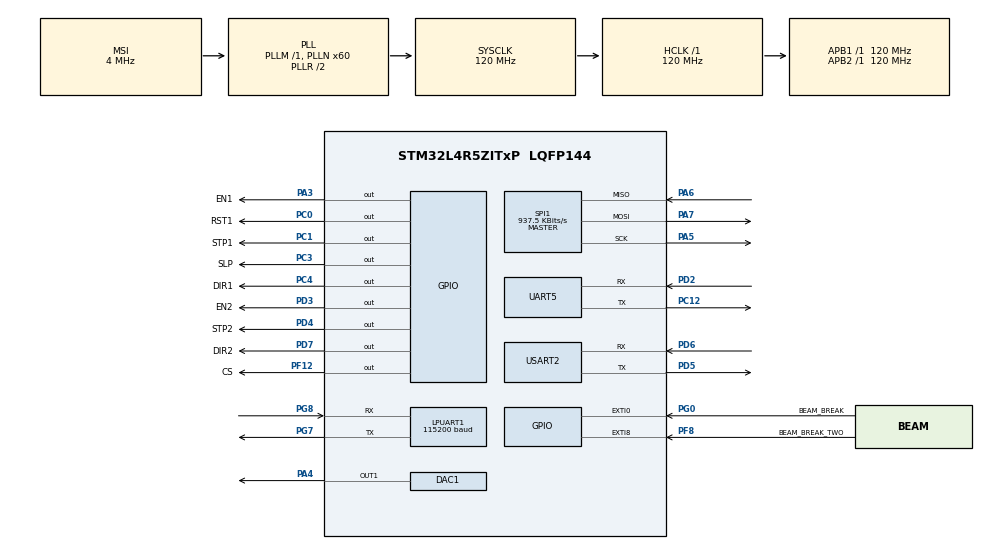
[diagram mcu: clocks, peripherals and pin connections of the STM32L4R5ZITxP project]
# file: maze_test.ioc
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DAC1.DAC_HighFrequency-DAC_OUT1=DAC_HIGH_FREQUENCY_INTERFACE_MODE_DISABLE
DAC1.DAC_Trigger-DAC_OUT1=DAC_TRIGGER_T5_TRGO
Dma.DAC1_CH1.0.Direction=DMA_MEMORY_TO_PERIPH
Dma.DAC1_CH1.0.EventEnable=DISABLE
Dma.DAC1_CH1.0.Instance=DMA1_Channel1
Dma.DAC1_CH1.0.MemDataAlignment=DMA_MDATAALIGN_BYTE
Dma.DAC1_CH1.0.MemInc=DMA_MINC_ENABLE
Dma.DAC1_CH1.0.Mode=DMA_NORMAL
Dma.DAC1_CH1.0.PeriphDataAlignment=DMA_PDATAALIGN_BYTE
Dma.DAC1_CH1.0.PeriphInc=DMA_PINC_DISABLE
Dma.DAC1_CH1.0.Polarity=HAL_DMAMUX_REQUEST_GEN_RISING
Dma.DAC1_CH1.0.Priority=DMA_PRIORITY_LOW
Dma.DAC1_CH1.0.RequestNumber=1
Dma.DAC1_CH1.0.SignalID=NONE
Dma.DAC1_CH1.0.SyncEnable=DISABLE
Dma.DAC1_CH1.0.SyncPolarity=HAL_DMAMUX_SYNC_NO_EVENT
Dma.DAC1_CH1.0.SyncRequestNumber=1
Dma.DAC1_CH1.0.SyncSignalID=NONE
Dma.Request0=DAC1_CH1
LPUART1.BaudRate=115200
LPUART1.WordLength=UART_WORDLENGTH_8B
Mcu.Family=STM32L4
Mcu.Name=STM32L4R5ZITxP
Mcu.Package=LQFP144
NVIC.DMA1_Channel1_IRQn=true\:0\:0\:false\:false\:true\:false\:true\:true
NVIC.EXTI0_IRQn=true\:0\:0\:false\:false\:true\:true\:true\:true
NVIC.EXTI9_5_IRQn=true\:0\:0\:false\:false\:true\:true\:true\:true
NVIC.PriorityGroup=NVIC_PRIORITYGROUP_4
NVIC.TIM4_IRQn=true\:0\:0\:false\:false\:true\:true\:true\:true
NVIC.TIM6_DAC_IRQn=true\:0\:0\:false\:false\:true\:true\:true\:true
NVIC.TIM7_IRQn=true\:0\:0\:false\:false\:true\:true\:true\:true
NVIC.UART5_IRQn=true\:0\:0\:false\:false\:true\:true\:true\:true
NVIC.USART2_IRQn=true\:0\:0\:false\:false\:true\:true\:true\:true
PA0.Signal=S_TIM2_CH1
PA1.Signal=ADCx_IN6
PA10.Signal=USB_OTG_FS_ID
PA13\ (JTMS/SWDIO).Signal=SYS_JTMS-SWDIO
PA14\ (JTCK/SWCLK).Signal=SYS_JTCK-SWCLK
PA3.GPIO_Label=EN1
PA3.PinState=GPIO_PIN_SET
PA3.Signal=GPIO_Output
PA4.Signal=COMP_DAC11_group
PA5.Mode=Full_Duplex_Master
PA5.Signal=SPI1_SCK
PA6.Mode=Full_Duplex_Master
PA6.Signal=SPI1_MISO
PA7.Mode=Full_Duplex_Master
PA7.Signal=SPI1_MOSI
PA8.Signal=USB_OTG_FS_SOF
PA9.Signal=USB_OTG_FS_VBUS
PB0.Signal=S_TIM3_CH3
PB1.Signal=ADCx_IN16
PB10.Signal=S_TIM2_CH3
PB12.Signal=SAI2_FS_A
PB13.Signal=SAI2_SCK_A
PB14.Signal=S_TIM15_CH1
PB15.Signal=SAI2_SD_A
PB2.Signal=COMP1_INP
PB3\ (JTDO/TRACESWO).Signal=SPI3_SCK
PB4\ (NJTRST).Signal=SPI3_MISO
PB5.Signal=SPI3_MOSI
PB6.Signal=COMP2_INP
PB8.Signal=I2C1_SCL
PB9.Signal=I2C1_SDA
PC0.GPIO_Label=RST1
PC0.PinState=GPIO_PIN_SET
PC0.Signal=GPIO_Output
PC1.GPIO_Label=STP1
PC1.Signal=GPIO_Output
PC10.Signal=SDMMC1_D2
PC11.Signal=SDMMC1_D3
PC12.Mode=Asynchronous
PC12.Signal=UART5_TX
PC13.Signal=SYS_WKUP2
PC14-OSC32_IN\ (PC14).Signal=RCC_OSC32_IN
PC15-OSC32_OUT\ (PC15).Signal=RCC_OSC32_OUT
PC2.Signal=ADCx_IN3
PC3.GPIO_Label=SLP
PC3.PinState=GPIO_PIN_SET
PC3.Signal=GPIO_Output
PC4.GPIO_Label=DIR1
PC4.Signal=GPIO_Output
PC5.Signal=ADCx_IN14
PC6.Signal=SAI2_MCLK_A
PC7.Signal=S_TIM3_CH2
PC8.Signal=SDMMC1_D0
PC9.Signal=SDMMC1_D1
PD0.Signal=CAN1_RX
PD14.Signal=S_TIM4_CH3
PD15.Signal=S_TIM4_CH4
PD2.Mode=Asynchronous
PD2.Signal=UART5_RX
PD3.GPIO_Label=EN2
PD3.PinState=GPIO_PIN_SET
PD3.Signal=GPIO_Output
PD4.GPIO_Label=STP2
PD4.Signal=GPIO_Output
PD5.Mode=Asynchronous
PD5.Signal=USART2_TX
PD6.Mode=Asynchronous
PD6.Signal=USART2_RX
PD7.GPIO_Label=DIR2
PD7.Signal=GPIO_Output
PD8.Signal=USART3_TX
PD9.Signal=USART3_RX
PE0.Signal=S_TIM4_ETR
PE10.Signal=TIM1_CH2N
PE11.Signal=S_TIM1_CH2
PE12.Signal=TIM1_CH3N
PE13.Signal=S_TIM1_CH3
PE14.Signal=TIM1_BKIN2
PE15.Signal=TIM1_BKIN
PE2.Signal=SAI1_MCLK_A
PE3.Signal=SAI1_SD_B
PE7.Signal=S_TIM1_ETR
PE8.Signal=TIM1_CH1N
PE9.Signal=S_TIM1_CH1
PF0.Signal=I2C2_SDA
PF1.Signal=I2C2_SCL
PF12.GPIO_Label=CS
PF12.PinState=GPIO_PIN_SET
PF12.Signal=GPIO_Output
PF2.Signal=I2C2_SMBA
PF7.Signal=SAI1_MCLK_B
PF8.GPIO_Label=BEAM_BREAK_TWO
PF8.GPIO_ModeDefaultEXTI=GPIO_MODE_IT_FALLING
PF8.GPIO_PuPd=GPIO_PULLUP
PF8.Signal=GPXTI8
PG0.GPIO_Label=BEAM_BREAK
PG0.GPIO_ModeDefaultEXTI=GPIO_MODE_IT_FALLING
PG0.GPIO_PuPd=GPIO_PULLUP
PG0.Signal=GPXTI0
PG7.Mode=Asynchronous
PG7.Signal=LPUART1_TX
PG8.Mode=Asynchronous
PG8.Signal=LPUART1_RX
PH0-OSC_IN\ (PH0).Signal=RCC_OSC_IN
PH1-OSC_OUT\ (PH1).Signal=RCC_OSC_OUT
ProjectManager.HeapSize=0x200
ProjectManager.StackSize=0x400
ProjectManager.TargetToolchain=STM32CubeIDE
RCC.AHBFreq_Value=120000000
RCC.APB1Freq_Value=120000000
RCC.APB1TimFreq_Value=120000000
RCC.APB2Freq_Value=120000000
RCC.APB2TimFreq_Value=120000000
RCC.CortexFreq_Value=120000000
RCC.HCLKFreq_Value=120000000
RCC.HSE_VALUE=8000000
RCC.HSI48_VALUE=48000000
RCC.HSI_VALUE=16000000
RCC.LSE_VALUE=32768
RCC.MSI_VALUE=4000000
RCC.PLLN=60
RCC.SYSCLKFreq_VALUE=120000000
RCC.SYSCLKSource=RCC_SYSCLKSOURCE_PLLCLK
RCC.VCOOutputFreq_Value=240000000
SH.ADCx_IN14.0=ADC1_IN14
SH.ADCx_IN16.0=ADC1_IN16
SH.ADCx_IN3.0=ADC1_IN3
SH.ADCx_IN6.0=ADC1_IN6
SH.COMP_DAC11_group.0=DAC1_OUT1,DAC_OUT1
SH.S_TIM15_CH1.0=TIM15_CH1
SH.S_TIM1_CH1.0=TIM1_CH1
SH.S_TIM1_CH2.0=TIM1_CH2
SH.S_TIM1_CH3.0=TIM1_CH3
SH.S_TIM1_ETR.0=TIM1_ETR
SH.S_TIM2_CH1.0=TIM2_CH1
SH.S_TIM2_CH3.0=TIM2_CH3
SH.S_TIM3_CH2.0=TIM3_CH2
SH.S_TIM3_CH3.0=TIM3_CH3
SH.S_TIM4_CH3.0=TIM4_CH3
SH.S_TIM4_CH4.0=TIM4_CH4
SH.S_TIM4_ETR.0=TIM4_ETR
SPI1.BaudRatePrescaler=SPI_BAUDRATEPRESCALER_128
SPI1.CalculateBaudRate=937.5 KBits/s
SPI1.DataSize=SPI_DATASIZE_8BIT
SPI1.Direction=SPI_DIRECTION_2LINES
SPI1.Mode=SPI_MODE_MASTER
SPI1.VirtualType=VM_MASTER
TIM3.Period=65535
TIM4.Period=9999
TIM4.Prescaler=11999
TIM5.Period=14999
TIM5.TIM_MasterOutputTrigger=TIM_TRGO_UPDATE
TIM6.Period=2999
TIM6.Prescaler=119
TIM7.Period=2999
TIM7.Prescaler=119
USART2.VirtualMode-Asynchronous=VM_ASYNC
VP_TIM3_VS_ClockSourceINT.Mode=Internal
VP_TIM4_VS_ClockSourceINT.Mode=Internal
VP_TIM5_VS_ClockSourceINT.Mode=Internal
VP_TIM6_VS_ClockSourceINT.Mode=Enable_Timer
VP_TIM7_VS_ClockSourceINT.Mode=Enable_Timer
board=NUCLEO-L4R5ZI-P

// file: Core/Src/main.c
/* USER CODE BEGIN Header */
/**
  ******************************************************************************
  * @file           : main.c
  * @brief          : Main program body
  ******************************************************************************
  * @attention
  *
  * Copyright (c) 2026 STMicroelectronics.
  * All rights reserved.
  *
  * This software is licensed under terms that can be found in the LICENSE file
  * in the root directory of this software component.
  * If no LICENSE file comes with this software, it is provided AS-IS.
  *
  ******************************************************************************
  */
/* USER CODE END Header */
#include "main.h"

/* USER CODE BEGIN Includes */
#include <math.h>
#include <stdlib.h>
#include <string.h>
#include <stdio.h>
#include "MAX7219Driver.h"
#include "audio.h"
/* USER CODE END Includes */

/* USER CODE BEGIN PD */
#define STEP_SIZE 1.8
#define MAX_ARR 1999
#define MIN_ARR 1499

extern unsigned char output_pcm[];
extern unsigned int output_pcm_len;

/* USER CODE END PD */

DAC_HandleTypeDef hdac1;
DMA_HandleTypeDef hdma_dac1_ch1;

UART_HandleTypeDef hlpuart1;
UART_HandleTypeDef huart5;
UART_HandleTypeDef huart2;

SPI_HandleTypeDef hspi1;

TIM_HandleTypeDef htim3;
TIM_HandleTypeDef htim4;
TIM_HandleTypeDef htim5;
TIM_HandleTypeDef htim6;
TIM_HandleTypeDef htim7;

/* USER CODE BEGIN PV */

int32_t elapsed_time = -1; //start at -1 to handle delay between timer start and display

/* USER CODE END PV */

void SystemClock_Config(void);
static void MX_GPIO_Init(void);
static void MX_DMA_Init(void);
static void MX_USART2_UART_Init(void);
static void MX_UART5_Init(void);
static void MX_LPUART1_UART_Init(void);
static void MX_SPI1_Init(void);
static void MX_TIM4_Init(void);
static void MX_TIM3_Init(void);
static void MX_TIM7_Init(void);
static void MX_TIM6_Init(void);
static void MX_DAC1_Init(void);
static void MX_TIM5_Init(void);

/* USER CODE BEGIN 0 */

// Wireless Transfer Data
int8_t rx_byte[2] = { 0, 0 };
volatile int received_roll = 0;
volatile int received_pitch = 0;
volatile uint8_t msg_flag = 0;
volatile uint8_t mov_flag1 = 0;
volatile uint8_t mov_flag2 = 0;

// Motor Movement Data
volatile int32_t steps_left1 = 0;
volatile int32_t steps_left2 = 0;
volatile int32_t steps_to_take1 = 0;
volatile int32_t steps_to_take2 = 0;
volatile uint32_t current_arr1 = MAX_ARR;
volatile uint32_t current_arr2 = MAX_ARR;
volatile uint32_t arr_step1 = 0;
volatile uint32_t arr_step2 = 0;
volatile int current_roll = 0;
volatile int current_pitch= 0;

//CoM display
volatile int time_update=0; //to actually update time
volatile int clear_flag=0; //clear flag to wipe display between rdy->mov transition

// Game State Data
volatile uint8_t game_ongoing = 0; //start at 0, update to 1 once board status flips

typedef enum
{
	TARE, //taring status from board
	RDY, //ready status from board
	MOV, //moving status from board
	END //game end status from beam break
} player_status; //enum to indicate if someone is on or off the board

player_status board = TARE; //start with the board in taring state

/* USER CODE END 0 */

int main(void)
{

  /* MCU Configuration--------------------------------------------------------*/

  /* Reset of all peripherals, Initializes the Flash interface and the Systick. */
  HAL_Init();

  /* Configure the system clock */
  SystemClock_Config();

  /* Initialize all configured peripherals */
  MX_GPIO_Init();
  MX_DMA_Init();
  MX_USART2_UART_Init();
  MX_UART5_Init();
  MX_LPUART1_UART_Init();
  MX_SPI1_Init();
  MX_TIM4_Init();
  MX_TIM3_Init();
  MX_TIM7_Init();
  MX_TIM6_Init();
  MX_DAC1_Init();
  MX_TIM5_Init();
  /* USER CODE BEGIN 2 */

  HAL_UART_Receive_IT(&huart5, rx_byte, 2); //enable reception from the wireless

  Matrix_Init(); //start the display

  HAL_GPIO_WritePin(EN1_GPIO_Port, EN1_Pin, GPIO_PIN_RESET); //enable motor 1
  HAL_GPIO_WritePin(EN2_GPIO_Port, EN2_Pin, GPIO_PIN_RESET); //enable motor 2

  int dir1 = 0; //direction of roll motor
  int dir2 = 0; //direction of pitch motor
  int diff1 = 0; //roll difference
  int diff2 = 0; //pitch difference
  int sign1 = 0; //addition/subtraction (1,-1) for roll
  int sign2 = 0; //addition/subtraction (1,-1) for pitch

  /* USER CODE END 2 */

  /* Infinite loop */
  while (1)
  {

    /* USER CODE BEGIN 3 */
	  if(board==TARE) //if taring
	  {
		  if(game_ongoing == 1) //if someone stepped off mid game
		  {
			  	if(current_roll!=0) //if roll not zeroed
			  	{
			  		//move motor back to zero
			  		dir1  = (current_roll - 0 > 0) ? 1 : 0;
			  		diff1 = (abs(current_roll - 0));
			  		steps_left1 = steps_to_take1 = 2 * diff1;
			  		arr_step1 = (MAX_ARR - MIN_ARR) / ( (steps_to_take1) / 3 ) ;
			  		HAL_GPIO_WritePin(DIR1_GPIO_Port, DIR1_Pin, dir1);
			  		HAL_TIM_Base_Start_IT(&htim6);
			  		current_roll = 0;
			  	}

			  	if(current_pitch!=0) //if pitch not zeroed
			  	{
			  		//move motor back to zero
			  		dir2  = (current_pitch - 0 > 0) ? 1 : 0;
			  		diff2 = (abs(current_pitch - 0));
			  		steps_left2 = steps_to_take2 = 2 * diff2;
			  		arr_step2 = (MAX_ARR - MIN_ARR) / ( (steps_to_take2) / 3 ) ;
			  		HAL_GPIO_WritePin(DIR2_GPIO_Port, DIR2_Pin, dir2);
			  		HAL_TIM_Base_Start_IT(&htim7);
			  		current_pitch = 0;
			  	}
			  	game_ongoing=0; //reset to game not going
			  	HAL_TIM_Base_Stop_IT(&htim4); //stop timer
			  	elapsed_time = -1; //reset elapsed time
		  }

		  //write TARE to display
		  Write_Char(3,29);//T
		  Write_Char(2,10);//A
		  Write_Char(1,27);//R
		  Write_Char(0,14);//E
	  }

	  else if (board==RDY) //board ready for a user
	  {
		  //Write RDY:) to display
		  Write_Char(3,27);//R
		  Write_Char(2,13);//D
		  Write_Char(1,34);//Y
		  Write_Char(0,38);//:)
	  }

	  else if (board==MOV) //user on board
	  {
		  if (clear_flag) //if just transitioned from the rdy state
		  {
				HAL_TIM_Base_Start_IT(&htim4); //start timer
				Matrix_Clear(); //clear matrix
				Write_Char(3,0); //0
				Write_Char(2,0); //0
				Write_Char(1,0); //0
				clear_flag=0; //reset flag
		  }

		  //Update motors
		  if(msg_flag && !( mov_flag1 | mov_flag2 ) ) {
		 		  dir1  = (current_roll - received_roll > 0) ? 1 : 0; //roll direction logic
		 		  dir2  = (current_pitch - received_pitch > 0) ? 1 : 0; //pitch direction logic

		 		  //determine if we're adding or subtracting
		 		  sign1 = (dir1 == 0) ? 1 : -1; //get roll sign based on dir
		 		  sign2 = (dir2 == 0) ? 1 : -1; //get pitch sign based on dir

		 		  diff1 = (abs(current_roll - received_roll)); //get the roll delta
		 		  diff2 = (abs(current_pitch - received_pitch)); //get the pitch delta

		 		  //*2 bc using toggle so need 1 to turn on and 1 to turn off
		 		  steps_left1 = steps_to_take1 = 2 * diff1; //roll steps
		 		  steps_left2 = steps_to_take2 = 2 * diff2; //pitch steps

		 		  //Update ARR steps based on step range
		 		  arr_step1 = (MAX_ARR - MIN_ARR) / ( (steps_to_take1) / 3 ) ;
		 		  arr_step2 = (MAX_ARR - MIN_ARR) / ( (steps_to_take2) / 3 ) ;

		 		  HAL_GPIO_WritePin(DIR1_GPIO_Port, DIR1_Pin, dir1); //set roll direction
		 		  HAL_GPIO_WritePin(DIR2_GPIO_Port, DIR2_Pin, dir2); //set pitch direction

		 		  // Set move flags
		 		  mov_flag1 = mov_flag2 = 1;

		 		  HAL_TIM_Base_Start_IT(&htim6); //start timer for moving motors
		 		  HAL_TIM_Base_Start_IT(&htim7); //start timer for moving motors
		 		  current_roll += (sign1*diff1); //where roll actually is
		 		  current_pitch += (sign2*diff2); //where pitch actually is
		 	  }
	  }

	  else if(board==END) //board==END
	  {
		  	if(current_roll!=0) //if roll not zeroed
		  	{
		  		dir1  = (current_roll - 0 > 0) ? 1 : 0;
		  		diff1 = (abs(current_roll - 0));
		  		steps_left1 = steps_to_take1 = 2 * diff1;
		  		arr_step1 = (MAX_ARR - MIN_ARR) / ( (steps_to_take1) / 3 ) ;
		  		HAL_GPIO_WritePin(DIR1_GPIO_Port, DIR1_Pin, dir1);
		  		HAL_TIM_Base_Start_IT(&htim6);
		  		current_roll = 0;
		  	}

		  	if(current_pitch!=0) //if pitch not zeroed
		  	{
		  		dir2  = (current_pitch - 0 > 0) ? 1 : 0;
		  		diff2 = (abs(current_pitch - 0));
		  		steps_left2 = steps_to_take2 = 2 * diff2;
		  		arr_step2 = (MAX_ARR - MIN_ARR) / ( (steps_to_take2) / 3 ) ;
		  		HAL_GPIO_WritePin(DIR2_GPIO_Port, DIR2_Pin, dir2);
		  		HAL_TIM_Base_Start_IT(&htim7);
		  		current_pitch = 0;
		  	}

		  	//run audio
			HAL_TIM_Base_Start(&htim5);
			HAL_DAC_Start_DMA(&hdac1, DAC_CHANNEL_1, (uint32_t *)output_pcm, output_pcm_len, DAC_ALIGN_8B_R);

			//display transition
			Write_Char(0,39); //Heart to replace the center of mass w/ final time
			HAL_TIM_Base_Stop_IT(&htim4); //stop timer
			HAL_NVIC_EnableIRQ(UART5_IRQn); //re-enable the UART interrupt
			elapsed_time = -1; //reset elapsed time
	  }

  }

  /* USER CODE END 3 */
}

void SystemClock_Config(void)
{
  RCC_OscInitTypeDef RCC_OscInitStruct = {0};
  RCC_ClkInitTypeDef RCC_ClkInitStruct = {0};

  /** Configure the main internal regulator output voltage
  */
  if (HAL_PWREx_ControlVoltageScaling(PWR_REGULATOR_VOLTAGE_SCALE1_BOOST) != HAL_OK)
  {
    Error_Handler();
  }

  /** Initializes the RCC Oscillators according to the specified parameters
  * in the RCC_OscInitTypeDef structure.
  */
  RCC_OscInitStruct.OscillatorType = RCC_OSCILLATORTYPE_MSI;
  RCC_OscInitStruct.MSIState = RCC_MSI_ON;
  RCC_OscInitStruct.MSICalibrationValue = 0;
  RCC_OscInitStruct.MSIClockRange = RCC_MSIRANGE_6;
  RCC_OscInitStruct.PLL.PLLState = RCC_PLL_ON;
  RCC_OscInitStruct.PLL.PLLSource = RCC_PLLSOURCE_MSI;
  RCC_OscInitStruct.PLL.PLLM = 1;
  RCC_OscInitStruct.PLL.PLLN = 60;
  RCC_OscInitStruct.PLL.PLLP = RCC_PLLP_DIV2;
  RCC_OscInitStruct.PLL.PLLQ = RCC_PLLQ_DIV2;
  RCC_OscInitStruct.PLL.PLLR = RCC_PLLR_DIV2;
  if (HAL_RCC_OscConfig(&RCC_OscInitStruct) != HAL_OK)
  {
    Error_Handler();
  }

  /** Initializes the CPU, AHB and APB buses clocks
  */
  RCC_ClkInitStruct.ClockType = RCC_CLOCKTYPE_HCLK|RCC_CLOCKTYPE_SYSCLK
                              |RCC_CLOCKTYPE_PCLK1|RCC_CLOCKTYPE_PCLK2;
  RCC_ClkInitStruct.SYSCLKSource = RCC_SYSCLKSOURCE_PLLCLK;
  RCC_ClkInitStruct.AHBCLKDivider = RCC_SYSCLK_DIV1;
  RCC_ClkInitStruct.APB1CLKDivider = RCC_HCLK_DIV1;
  RCC_ClkInitStruct.APB2CLKDivider = RCC_HCLK_DIV1;

  if (HAL_RCC_ClockConfig(&RCC_ClkInitStruct, FLASH_LATENCY_5) != HAL_OK)
  {
    Error_Handler();
  }
}

static void MX_DAC1_Init(void)
{

  DAC_ChannelConfTypeDef sConfig = {0};

  /** DAC Initialization
  */
  hdac1.Instance = DAC1;
  if (HAL_DAC_Init(&hdac1) != HAL_OK)
  {
    Error_Handler();
  }

  /** DAC channel OUT1 config
  */
  sConfig.DAC_SampleAndHold = DAC_SAMPLEANDHOLD_DISABLE;
  sConfig.DAC_Trigger = DAC_TRIGGER_T5_TRGO;
  sConfig.DAC_HighFrequency = DAC_HIGH_FREQUENCY_INTERFACE_MODE_DISABLE;
  sConfig.DAC_OutputBuffer = DAC_OUTPUTBUFFER_ENABLE;
  sConfig.DAC_ConnectOnChipPeripheral = DAC_CHIPCONNECT_DISABLE;
  sConfig.DAC_UserTrimming = DAC_TRIMMING_FACTORY;
  if (HAL_DAC_ConfigChannel(&hdac1, &sConfig, DAC_CHANNEL_1) != HAL_OK)
  {
    Error_Handler();
  }

}

static void MX_LPUART1_UART_Init(void)
{

  hlpuart1.Instance = LPUART1;
  hlpuart1.Init.BaudRate = 115200;
  hlpuart1.Init.WordLength = UART_WORDLENGTH_8B;
  hlpuart1.Init.StopBits = UART_STOPBITS_1;
  hlpuart1.Init.Parity = UART_PARITY_NONE;
  hlpuart1.Init.Mode = UART_MODE_TX_RX;
  hlpuart1.Init.HwFlowCtl = UART_HWCONTROL_NONE;
  hlpuart1.Init.OneBitSampling = UART_ONE_BIT_SAMPLE_DISABLE;
  hlpuart1.Init.ClockPrescaler = UART_PRESCALER_DIV1;
  hlpuart1.AdvancedInit.AdvFeatureInit = UART_ADVFEATURE_NO_INIT;
  hlpuart1.FifoMode = UART_FIFOMODE_DISABLE;
  if (HAL_UART_Init(&hlpuart1) != HAL_OK)
  {
    Error_Handler();
  }
  if (HAL_UARTEx_SetTxFifoThreshold(&hlpuart1, UART_TXFIFO_THRESHOLD_1_8) != HAL_OK)
  {
    Error_Handler();
  }
  if (HAL_UARTEx_SetRxFifoThreshold(&hlpuart1, UART_RXFIFO_THRESHOLD_1_8) != HAL_OK)
  {
    Error_Handler();
  }
  if (HAL_UARTEx_DisableFifoMode(&hlpuart1) != HAL_OK)
  {
    Error_Handler();
  }

}

static void MX_UART5_Init(void)
{

  huart5.Instance = UART5;
  huart5.Init.BaudRate = 115200;
  huart5.Init.WordLength = UART_WORDLENGTH_8B;
  huart5.Init.StopBits = UART_STOPBITS_1;
  huart5.Init.Parity = UART_PARITY_NONE;
  huart5.Init.Mode = UART_MODE_TX_RX;
  huart5.Init.HwFlowCtl = UART_HWCONTROL_NONE;
  huart5.Init.OverSampling = UART_OVERSAMPLING_16;
  huart5.Init.OneBitSampling = UART_ONE_BIT_SAMPLE_DISABLE;
  huart5.Init.ClockPrescaler = UART_PRESCALER_DIV1;
  huart5.AdvancedInit.AdvFeatureInit = UART_ADVFEATURE_NO_INIT;
  if (HAL_UART_Init(&huart5) != HAL_OK)
  {
    Error_Handler();
  }
  if (HAL_UARTEx_SetTxFifoThreshold(&huart5, UART_TXFIFO_THRESHOLD_1_8) != HAL_OK)
  {
    Error_Handler();
  }
  if (HAL_UARTEx_SetRxFifoThreshold(&huart5, UART_RXFIFO_THRESHOLD_1_8) != HAL_OK)
  {
    Error_Handler();
  }
  if (HAL_UARTEx_DisableFifoMode(&huart5) != HAL_OK)
  {
    Error_Handler();
  }

}

static void MX_USART2_UART_Init(void)
{

  huart2.Instance = USART2;
  huart2.Init.BaudRate = 115200;
  huart2.Init.WordLength = UART_WORDLENGTH_8B;
  huart2.Init.StopBits = UART_STOPBITS_1;
  huart2.Init.Parity = UART_PARITY_NONE;
  huart2.Init.Mode = UART_MODE_TX_RX;
  huart2.Init.HwFlowCtl = UART_HWCONTROL_NONE;
  huart2.Init.OverSampling = UART_OVERSAMPLING_16;
  huart2.Init.OneBitSampling = UART_ONE_BIT_SAMPLE_DISABLE;
  huart2.Init.ClockPrescaler = UART_PRESCALER_DIV1;
  huart2.AdvancedInit.AdvFeatureInit = UART_ADVFEATURE_NO_INIT;
  if (HAL_UART_Init(&huart2) != HAL_OK)
  {
    Error_Handler();
  }
  if (HAL_UARTEx_SetTxFifoThreshold(&huart2, UART_TXFIFO_THRESHOLD_1_8) != HAL_OK)
  {
    Error_Handler();
  }
  if (HAL_UARTEx_SetRxFifoThreshold(&huart2, UART_RXFIFO_THRESHOLD_1_8) != HAL_OK)
  {
    Error_Handler();
  }
  if (HAL_UARTEx_DisableFifoMode(&huart2) != HAL_OK)
  {
    Error_Handler();
  }

}

static void MX_SPI1_Init(void)
{

  /* SPI1 parameter configuration*/
  hspi1.Instance = SPI1;
  hspi1.Init.Mode = SPI_MODE_MASTER;
  hspi1.Init.Direction = SPI_DIRECTION_2LINES;
  hspi1.Init.DataSize = SPI_DATASIZE_8BIT;
  hspi1.Init.CLKPolarity = SPI_POLARITY_LOW;
  hspi1.Init.CLKPhase = SPI_PHASE_1EDGE;
  hspi1.Init.NSS = SPI_NSS_SOFT;
  hspi1.Init.BaudRatePrescaler = SPI_BAUDRATEPRESCALER_128;
  hspi1.Init.FirstBit = SPI_FIRSTBIT_MSB;
  hspi1.Init.TIMode = SPI_TIMODE_DISABLE;
  hspi1.Init.CRCCalculation = SPI_CRCCALCULATION_DISABLE;
  hspi1.Init.CRCPolynomial = 7;
  hspi1.Init.CRCLength = SPI_CRC_LENGTH_DATASIZE;
  hspi1.Init.NSSPMode = SPI_NSS_PULSE_ENABLE;
  if (HAL_SPI_Init(&hspi1) != HAL_OK)
  {
    Error_Handler();
  }

}

static void MX_TIM3_Init(void)
{

  TIM_ClockConfigTypeDef sClockSourceConfig = {0};
  TIM_MasterConfigTypeDef sMasterConfig = {0};

  htim3.Instance = TIM3;
  htim3.Init.Prescaler = 0;
  htim3.Init.CounterMode = TIM_COUNTERMODE_UP;
  htim3.Init.Period = 65535;
  htim3.Init.ClockDivision = TIM_CLOCKDIVISION_DIV1;
  htim3.Init.AutoReloadPreload = TIM_AUTORELOAD_PRELOAD_DISABLE;
  if (HAL_TIM_Base_Init(&htim3) != HAL_OK)
  {
    Error_Handler();
  }
  sClockSourceConfig.ClockSource = TIM_CLOCKSOURCE_INTERNAL;
  if (HAL_TIM_ConfigClockSource(&htim3, &sClockSourceConfig) != HAL_OK)
  {
    Error_Handler();
  }
  sMasterConfig.MasterOutputTrigger = TIM_TRGO_RESET;
  sMasterConfig.MasterSlaveMode = TIM_MASTERSLAVEMODE_DISABLE;
  if (HAL_TIMEx_MasterConfigSynchronization(&htim3, &sMasterConfig) != HAL_OK)
  {
    Error_Handler();
  }

}

static void MX_TIM4_Init(void)
{

  TIM_ClockConfigTypeDef sClockSourceConfig = {0};
  TIM_MasterConfigTypeDef sMasterConfig = {0};

  htim4.Instance = TIM4;
  htim4.Init.Prescaler = 11999;
  htim4.Init.CounterMode = TIM_COUNTERMODE_UP;
  htim4.Init.Period = 499;
  htim4.Init.ClockDivision = TIM_CLOCKDIVISION_DIV1;
  htim4.Init.AutoReloadPreload = TIM_AUTORELOAD_PRELOAD_DISABLE;
  if (HAL_TIM_Base_Init(&htim4) != HAL_OK)
  {
    Error_Handler();
  }
  sClockSourceConfig.ClockSource = TIM_CLOCKSOURCE_INTERNAL;
  if (HAL_TIM_ConfigClockSource(&htim4, &sClockSourceConfig) != HAL_OK)
  {
    Error_Handler();
  }
  sMasterConfig.MasterOutputTrigger = TIM_TRGO_RESET;
  sMasterConfig.MasterSlaveMode = TIM_MASTERSLAVEMODE_DISABLE;
  if (HAL_TIMEx_MasterConfigSynchronization(&htim4, &sMasterConfig) != HAL_OK)
  {
    Error_Handler();
  }

}

static void MX_TIM5_Init(void)
{

  TIM_ClockConfigTypeDef sClockSourceConfig = {0};
  TIM_MasterConfigTypeDef sMasterConfig = {0};

  htim5.Instance = TIM5;
  htim5.Init.Prescaler = 0;
  htim5.Init.CounterMode = TIM_COUNTERMODE_UP;
  htim5.Init.Period = 14999;
  htim5.Init.ClockDivision = TIM_CLOCKDIVISION_DIV1;
  htim5.Init.AutoReloadPreload = TIM_AUTORELOAD_PRELOAD_DISABLE;
  if (HAL_TIM_Base_Init(&htim5) != HAL_OK)
  {
    Error_Handler();
  }
  sClockSourceConfig.ClockSource = TIM_CLOCKSOURCE_INTERNAL;
  if (HAL_TIM_ConfigClockSource(&htim5, &sClockSourceConfig) != HAL_OK)
  {
    Error_Handler();
  }
  sMasterConfig.MasterOutputTrigger = TIM_TRGO_UPDATE;
  sMasterConfig.MasterSlaveMode = TIM_MASTERSLAVEMODE_DISABLE;
  if (HAL_TIMEx_MasterConfigSynchronization(&htim5, &sMasterConfig) != HAL_OK)
  {
    Error_Handler();
  }

}

static void MX_TIM6_Init(void)
{

  TIM_MasterConfigTypeDef sMasterConfig = {0};

  htim6.Instance = TIM6;
  htim6.Init.Prescaler = 119;
  htim6.Init.CounterMode = TIM_COUNTERMODE_UP;
  htim6.Init.Period = 2999;
  htim6.Init.AutoReloadPreload = TIM_AUTORELOAD_PRELOAD_DISABLE;
  if (HAL_TIM_Base_Init(&htim6) != HAL_OK)
  {
    Error_Handler();
  }
  sMasterConfig.MasterOutputTrigger = TIM_TRGO_RESET;
  sMasterConfig.MasterSlaveMode = TIM_MASTERSLAVEMODE_DISABLE;
  if (HAL_TIMEx_MasterConfigSynchronization(&htim6, &sMasterConfig) != HAL_OK)
  {
    Error_Handler();
  }

}

static void MX_TIM7_Init(void)
{

  TIM_MasterConfigTypeDef sMasterConfig = {0};

  htim7.Instance = TIM7;
  htim7.Init.Prescaler = 119;
  htim7.Init.CounterMode = TIM_COUNTERMODE_UP;
  htim7.Init.Period = 2999;
  htim7.Init.AutoReloadPreload = TIM_AUTORELOAD_PRELOAD_DISABLE;
  if (HAL_TIM_Base_Init(&htim7) != HAL_OK)
  {
    Error_Handler();
  }
  sMasterConfig.MasterOutputTrigger = TIM_TRGO_RESET;
  sMasterConfig.MasterSlaveMode = TIM_MASTERSLAVEMODE_DISABLE;
  if (HAL_TIMEx_MasterConfigSynchronization(&htim7, &sMasterConfig) != HAL_OK)
  {
    Error_Handler();
  }

}

static void MX_DMA_Init(void)
{

  /* DMA controller clock enable */
  __HAL_RCC_DMAMUX1_CLK_ENABLE();
  __HAL_RCC_DMA1_CLK_ENABLE();

  /* DMA interrupt init */
  /* DMA1_Channel1_IRQn interrupt configuration */
  HAL_NVIC_SetPriority(DMA1_Channel1_IRQn, 0, 0);
  HAL_NVIC_EnableIRQ(DMA1_Channel1_IRQn);

}

static void MX_GPIO_Init(void)
{
  GPIO_InitTypeDef GPIO_InitStruct = {0};

  /* GPIO Ports Clock Enable */
  __HAL_RCC_GPIOE_CLK_ENABLE();
  __HAL_RCC_GPIOC_CLK_ENABLE();
  __HAL_RCC_GPIOF_CLK_ENABLE();
  __HAL_RCC_GPIOH_CLK_ENABLE();
  __HAL_RCC_GPIOA_CLK_ENABLE();
  __HAL_RCC_GPIOB_CLK_ENABLE();
  __HAL_RCC_GPIOG_CLK_ENABLE();
  __HAL_RCC_GPIOD_CLK_ENABLE();
  HAL_PWREx_EnableVddIO2();

  /*Configure GPIO pin Output Level */
  HAL_GPIO_WritePin(GPIOC, RST1_Pin|SLP_Pin, GPIO_PIN_SET);

  /*Configure GPIO pin Output Level */
  HAL_GPIO_WritePin(GPIOC, STP1_Pin|DIR1_Pin, GPIO_PIN_RESET);

  /*Configure GPIO pin Output Level */
  HAL_GPIO_WritePin(EN1_GPIO_Port, EN1_Pin, GPIO_PIN_SET);

  /*Configure GPIO pin Output Level */
  HAL_GPIO_WritePin(CS_GPIO_Port, CS_Pin, GPIO_PIN_SET);

  /*Configure GPIO pin Output Level */
  HAL_GPIO_WritePin(EN2_GPIO_Port, EN2_Pin, GPIO_PIN_SET);

  /*Configure GPIO pin Output Level */
  HAL_GPIO_WritePin(GPIOD, STP2_Pin|DIR2_Pin, GPIO_PIN_RESET);

  /*Configure GPIO pins : PE2 PE3 */
  GPIO_InitStruct.Pin = GPIO_PIN_2|GPIO_PIN_3;
  GPIO_InitStruct.Mode = GPIO_MODE_AF_PP;
  GPIO_InitStruct.Pull = GPIO_NOPULL;
  GPIO_InitStruct.Speed = GPIO_SPEED_FREQ_LOW;
  GPIO_InitStruct.Alternate = GPIO_AF13_SAI1;
  HAL_GPIO_Init(GPIOE, &GPIO_InitStruct);

  /*Configure GPIO pins : PF0 PF1 PF2 */
  GPIO_InitStruct.Pin = GPIO_PIN_0|GPIO_PIN_1|GPIO_PIN_2;
  GPIO_InitStruct.Mode = GPIO_MODE_AF_OD;
  GPIO_InitStruct.Pull = GPIO_NOPULL;
  GPIO_InitStruct.Speed = GPIO_SPEED_FREQ_VERY_HIGH;
  GPIO_InitStruct.Alternate = GPIO_AF4_I2C2;
  HAL_GPIO_Init(GPIOF, &GPIO_InitStruct);

  /*Configure GPIO pin : PF7 */
  GPIO_InitStruct.Pin = GPIO_PIN_7;
  GPIO_InitStruct.Mode = GPIO_MODE_AF_PP;
  GPIO_InitStruct.Pull = GPIO_NOPULL;
  GPIO_InitStruct.Speed = GPIO_SPEED_FREQ_LOW;
  GPIO_InitStruct.Alternate = GPIO_AF13_SAI1;
  HAL_GPIO_Init(GPIOF, &GPIO_InitStruct);

  /*Configure GPIO pin : BEAM_BREAK_TWO_Pin */
  GPIO_InitStruct.Pin = BEAM_BREAK_TWO_Pin;
  GPIO_InitStruct.Mode = GPIO_MODE_IT_FALLING;
  GPIO_InitStruct.Pull = GPIO_PULLUP;
  HAL_GPIO_Init(BEAM_BREAK_TWO_GPIO_Port, &GPIO_InitStruct);

  /*Configure GPIO pins : RST1_Pin STP1_Pin SLP_Pin DIR1_Pin */
  GPIO_InitStruct.Pin = RST1_Pin|STP1_Pin|SLP_Pin|DIR1_Pin;
  GPIO_InitStruct.Mode = GPIO_MODE_OUTPUT_PP;
  GPIO_InitStruct.Pull = GPIO_NOPULL;
  GPIO_InitStruct.Speed = GPIO_SPEED_FREQ_LOW;
  HAL_GPIO_Init(GPIOC, &GPIO_InitStruct);

  /*Configure GPIO pins : PC2 PC5 */
  GPIO_InitStruct.Pin = GPIO_PIN_2|GPIO_PIN_5;
  GPIO_InitStruct.Mode = GPIO_MODE_ANALOG_ADC_CONTROL;
  GPIO_InitStruct.Pull = GPIO_NOPULL;
  HAL_GPIO_Init(GPIOC, &GPIO_InitStruct);

  /*Configure GPIO pin : PA0 */
  GPIO_InitStruct.Pin = GPIO_PIN_0;
  GPIO_InitStruct.Mode = GPIO_MODE_AF_PP;
  GPIO_InitStruct.Pull = GPIO_NOPULL;
  GPIO_InitStruct.Speed = GPIO_SPEED_FREQ_LOW;
  GPIO_InitStruct.Alternate = GPIO_AF1_TIM2;
  HAL_GPIO_Init(GPIOA, &GPIO_InitStruct);

  /*Configure GPIO pin : PA1 */
  GPIO_InitStruct.Pin = GPIO_PIN_1;
  GPIO_InitStruct.Mode = GPIO_MODE_ANALOG_ADC_CONTROL;
  GPIO_InitStruct.Pull = GPIO_NOPULL;
  HAL_GPIO_Init(GPIOA, &GPIO_InitStruct);

  /*Configure GPIO pin : EN1_Pin */
  GPIO_InitStruct.Pin = EN1_Pin;
  GPIO_InitStruct.Mode = GPIO_MODE_OUTPUT_PP;
  GPIO_InitStruct.Pull = GPIO_NOPULL;
  GPIO_InitStruct.Speed = GPIO_SPEED_FREQ_LOW;
  HAL_GPIO_Init(EN1_GPIO_Port, &GPIO_InitStruct);

  /*Configure GPIO pin : PB1 */
  GPIO_InitStruct.Pin = GPIO_PIN_1;
  GPIO_InitStruct.Mode = GPIO_MODE_ANALOG_ADC_CONTROL;
  GPIO_InitStruct.Pull = GPIO_NOPULL;
  HAL_GPIO_Init(GPIOB, &GPIO_InitStruct);

  /*Configure GPIO pins : PB2 PB6 */
  GPIO_InitStruct.Pin = GPIO_PIN_2|GPIO_PIN_6;
  GPIO_InitStruct.Mode = GPIO_MODE_ANALOG;
  GPIO_InitStruct.Pull = GPIO_NOPULL;
  HAL_GPIO_Init(GPIOB, &GPIO_InitStruct);

  /*Configure GPIO pin : CS_Pin */
  GPIO_InitStruct.Pin = CS_Pin;
  GPIO_InitStruct.Mode = GPIO_MODE_OUTPUT_PP;
  GPIO_InitStruct.Pull = GPIO_NOPULL;
  GPIO_InitStruct.Speed = GPIO_SPEED_FREQ_LOW;
  HAL_GPIO_Init(CS_GPIO_Port, &GPIO_InitStruct);

  /*Configure GPIO pin : BEAM_BREAK_Pin */
  GPIO_InitStruct.Pin = BEAM_BREAK_Pin;
  GPIO_InitStruct.Mode = GPIO_MODE_IT_FALLING;
  GPIO_InitStruct.Pull = GPIO_PULLUP;
  HAL_GPIO_Init(BEAM_BREAK_GPIO_Port, &GPIO_InitStruct);

  /*Configure GPIO pins : PE7 PE8 PE9 PE10
                           PE11 PE12 PE13 */
  GPIO_InitStruct.Pin = GPIO_PIN_7|GPIO_PIN_8|GPIO_PIN_9|GPIO_PIN_10
                          |GPIO_PIN_11|GPIO_PIN_12|GPIO_PIN_13;
  GPIO_InitStruct.Mode = GPIO_MODE_AF_PP;
  GPIO_InitStruct.Pull = GPIO_NOPULL;
  GPIO_InitStruct.Speed = GPIO_SPEED_FREQ_LOW;
  GPIO_InitStruct.Alternate = GPIO_AF1_TIM1;
  HAL_GPIO_Init(GPIOE, &GPIO_InitStruct);

  /*Configure GPIO pins : PE14 PE15 */
  GPIO_InitStruct.Pin = GPIO_PIN_14|GPIO_PIN_15;
  GPIO_InitStruct.Mode = GPIO_MODE_AF_PP;
  GPIO_InitStruct.Pull = GPIO_NOPULL;
  GPIO_InitStruct.Speed = GPIO_SPEED_FREQ_LOW;
  GPIO_InitStruct.Alternate = GPIO_AF3_TIM1_COMP1;
  HAL_GPIO_Init(GPIOE, &GPIO_InitStruct);

  /*Configure GPIO pin : PB10 */
  GPIO_InitStruct.Pin = GPIO_PIN_10;
  GPIO_InitStruct.Mode = GPIO_MODE_AF_PP;
  GPIO_InitStruct.Pull = GPIO_NOPULL;
  GPIO_InitStruct.Speed = GPIO_SPEED_FREQ_LOW;
  GPIO_InitStruct.Alternate = GPIO_AF1_TIM2;
  HAL_GPIO_Init(GPIOB, &GPIO_InitStruct);

  /*Configure GPIO pins : PB12 PB13 PB15 */
  GPIO_InitStruct.Pin = GPIO_PIN_12|GPIO_PIN_13|GPIO_PIN_15;
  GPIO_InitStruct.Mode = GPIO_MODE_AF_PP;
  GPIO_InitStruct.Pull = GPIO_NOPULL;
  GPIO_InitStruct.Speed = GPIO_SPEED_FREQ_LOW;
  GPIO_InitStruct.Alternate = GPIO_AF13_SAI2;
  HAL_GPIO_Init(GPIOB, &GPIO_InitStruct);

  /*Configure GPIO pin : PB14 */
  GPIO_InitStruct.Pin = GPIO_PIN_14;
  GPIO_InitStruct.Mode = GPIO_MODE_AF_PP;
  GPIO_InitStruct.Pull = GPIO_NOPULL;
  GPIO_InitStruct.Speed = GPIO_SPEED_FREQ_LOW;
  GPIO_InitStruct.Alternate = GPIO_AF14_TIM15;
  HAL_GPIO_Init(GPIOB, &GPIO_InitStruct);

  /*Configure GPIO pins : PD8 PD9 */
  GPIO_InitStruct.Pin = GPIO_PIN_8|GPIO_PIN_9;
  GPIO_InitStruct.Mode = GPIO_MODE_AF_PP;
  GPIO_InitStruct.Pull = GPIO_NOPULL;
  GPIO_InitStruct.Speed = GPIO_SPEED_FREQ_VERY_HIGH;
  GPIO_InitStruct.Alternate = GPIO_AF7_USART3;
  HAL_GPIO_Init(GPIOD, &GPIO_InitStruct);

  /*Configure GPIO pin : PC6 */
  GPIO_InitStruct.Pin = GPIO_PIN_6;
  GPIO_InitStruct.Mode = GPIO_MODE_AF_PP;
  GPIO_InitStruct.Pull = GPIO_NOPULL;
  GPIO_InitStruct.Speed = GPIO_SPEED_FREQ_LOW;
  GPIO_InitStruct.Alternate = GPIO_AF13_SAI2;
  HAL_GPIO_Init(GPIOC, &GPIO_InitStruct);

  /*Configure GPIO pins : PC8 PC9 PC10 PC11 */
  GPIO_InitStruct.Pin = GPIO_PIN_8|GPIO_PIN_9|GPIO_PIN_10|GPIO_PIN_11;
  GPIO_InitStruct.Mode = GPIO_MODE_AF_PP;
  GPIO_InitStruct.Pull = GPIO_NOPULL;
  GPIO_InitStruct.Speed = GPIO_SPEED_FREQ_VERY_HIGH;
  GPIO_InitStruct.Alternate = GPIO_AF12_SDMMC1;
  HAL_GPIO_Init(GPIOC, &GPIO_InitStruct);

  /*Configure GPIO pins : PA8 PA10 */
  GPIO_InitStruct.Pin = GPIO_PIN_8|GPIO_PIN_10;
  GPIO_InitStruct.Mode = GPIO_MODE_AF_PP;
  GPIO_InitStruct.Pull = GPIO_NOPULL;
  GPIO_InitStruct.Speed = GPIO_SPEED_FREQ_VERY_HIGH;
  GPIO_InitStruct.Alternate = GPIO_AF10_OTG_FS;
  HAL_GPIO_Init(GPIOA, &GPIO_InitStruct);

  /*Configure GPIO pin : PA9 */
  GPIO_InitStruct.Pin = GPIO_PIN_9;
  GPIO_InitStruct.Mode = GPIO_MODE_INPUT;
  GPIO_InitStruct.Pull = GPIO_NOPULL;
  HAL_GPIO_Init(GPIOA, &GPIO_InitStruct);

  /*Configure GPIO pin : PD0 */
  GPIO_InitStruct.Pin = GPIO_PIN_0;
  GPIO_InitStruct.Mode = GPIO_MODE_AF_PP;
  GPIO_InitStruct.Pull = GPIO_NOPULL;
  GPIO_InitStruct.Speed = GPIO_SPEED_FREQ_VERY_HIGH;
  GPIO_InitStruct.Alternate = GPIO_AF9_CAN1;
  HAL_GPIO_Init(GPIOD, &GPIO_InitStruct);

  /*Configure GPIO pins : EN2_Pin STP2_Pin DIR2_Pin */
  GPIO_InitStruct.Pin = EN2_Pin|STP2_Pin|DIR2_Pin;
  GPIO_InitStruct.Mode = GPIO_MODE_OUTPUT_PP;
  GPIO_InitStruct.Pull = GPIO_NOPULL;
  GPIO_InitStruct.Speed = GPIO_SPEED_FREQ_LOW;
  HAL_GPIO_Init(GPIOD, &GPIO_InitStruct);

  /*Configure GPIO pins : PB3 PB4 PB5 */
  GPIO_InitStruct.Pin = GPIO_PIN_3|GPIO_PIN_4|GPIO_PIN_5;
  GPIO_InitStruct.Mode = GPIO_MODE_AF_PP;
  GPIO_InitStruct.Pull = GPIO_NOPULL;
  GPIO_InitStruct.Speed = GPIO_SPEED_FREQ_VERY_HIGH;
  GPIO_InitStruct.Alternate = GPIO_AF6_SPI3;
  HAL_GPIO_Init(GPIOB, &GPIO_InitStruct);

  /*Configure GPIO pins : PB8 PB9 */
  GPIO_InitStruct.Pin = GPIO_PIN_8|GPIO_PIN_9;
  GPIO_InitStruct.Mode = GPIO_MODE_AF_OD;
  GPIO_InitStruct.Pull = GPIO_NOPULL;
  GPIO_InitStruct.Speed = GPIO_SPEED_FREQ_VERY_HIGH;
  GPIO_InitStruct.Alternate = GPIO_AF4_I2C1;
  HAL_GPIO_Init(GPIOB, &GPIO_InitStruct);

  /* EXTI interrupt init*/
  HAL_NVIC_SetPriority(EXTI0_IRQn, 0, 0);
  HAL_NVIC_EnableIRQ(EXTI0_IRQn);

  HAL_NVIC_SetPriority(EXTI9_5_IRQn, 0, 0);
  HAL_NVIC_EnableIRQ(EXTI9_5_IRQn);

}

/* USER CODE BEGIN 4 */
#ifdef __GNUC__
#define PUTCHAR_PROTOTYPE int __io_putchar(int ch)
#else
  #define PUTCHAR_PROTOTYPE int fputc(int ch, FILE *f)
#endif /* __GNUC__ */
PUTCHAR_PROTOTYPE
{
  HAL_UART_Transmit(&hlpuart1, (uint8_t *)&ch, 1, 0xFFFF);
  return ch;
}

void HAL_UART_RxCpltCallback(UART_HandleTypeDef *huart)
{
	if(huart->Instance == UART5)
	{

		if(rx_byte[0]==87 && rx_byte[1]==87) //if receiving tare status from the board (status 87)
		{
			board = TARE; //set board status to tare, handle in main
		}

		else if (rx_byte[0]==89 && rx_byte[1]==89) //if received rdy status from the board (status 89)
		{
			board = RDY; //set board status to ready, handle in main
		}

		else //board has someone on it
		{

			//1st transition from RDY -> MOV
			if(board==RDY && game_ongoing==0)
			{
				board = MOV; //update the flag
				clear_flag = 1; //set flag
				game_ongoing = 1; //game has started
			}

		}
		//update received roll and pitch every time but should only move when status is MOV
		received_roll = rx_byte[0]; //update roll
		received_pitch = rx_byte[1]; //update pitch
		msg_flag = 1; //data ready
		HAL_UART_Receive_IT(&huart5, rx_byte, 2); //restart the uart every time no matter what state we're in
	}
}

void HAL_TIM_PeriodElapsedCallback(TIM_HandleTypeDef *htim){

	//Timer for Display (CoM and user time)
	//CoM updates ~20 times as fast as the time does
	//Time updates every second
	if (htim->Instance == TIM4)
	{
		//CoM Display
	    float mass_col = (4*((received_roll/70.0)+1)-1); //get col based on roll
		float mass_row = (4*((received_pitch/70.0)+1)-1); //get row based on pitch
		mass_row = (mass_row > 7) ?  7 : (mass_row < 0) ? 0 : mass_row; //bound checking on row
		mass_col = (mass_col > 7) ? 7 : (mass_col < 0) ? 0 : mass_col; //bound checking on col
		Matrix_Clear_Cell(0); //clear current CoM
		Write_Pixel(0, (int)mass_row, (int)mass_col); //write CoM

		//Time Display
		time_update++; //update universal timer
		if (time_update==20) //if need to update time display
		{
			elapsed_time++; //increase displayed time
			Write_Char(3, (elapsed_time / 100) % 10);
			Write_Char(2, (elapsed_time / 10) % 10);
			Write_Char(1, elapsed_time % 10);
			time_update=0; //reset
		}

	}

	//Timer for Motor 1
	if (htim->Instance == TIM6)
	{
		//If done moving stop/reset timer and clear flag
		if (steps_left1 <=0)
		{
			HAL_TIM_Base_Stop_IT(&htim6);
			TIM6->ARR = MAX_ARR;
			current_arr1 = MAX_ARR;
			mov_flag1 = 0;  //indicate we're ready to move again
		}

		// Accelerate for the first 3rd of steps
		if( steps_left1 <=  (steps_to_take1) * (2/3) ){
			current_arr1 -= arr_step1;
			TIM6->ARR = current_arr1;
		 //Hold speed for middle third
		}
		else if ( steps_left1 >= (steps_to_take1) * (1/3) ){

		 // Decelerate for final third
		}
		else{
			current_arr1 += arr_step1;
			TIM6->ARR = current_arr1;
		}

		if( steps_left1 > 0){
			HAL_GPIO_TogglePin(STP1_GPIO_Port, STP1_Pin);
			steps_left1--;
		}
	}

	//Timer for Motor 2
	if(htim->Instance == TIM7)
	{
		//If done moving stop/reset timer and clear flag
		if (steps_left2 <=0)
		{
			HAL_TIM_Base_Stop_IT(&htim7);
			current_arr2 = MAX_ARR;
			TIM7->ARR = MAX_ARR;
		    mov_flag2 = 0;    //indicate we're ready to move again
		}

		// Accelerate for the first 3rd of steps
		if( steps_left2 <=  (steps_to_take2) * (2/3) ){
			current_arr2 -= arr_step2;
			TIM7->ARR = current_arr2;
		 //Hold speed for middle third
		}else if ( steps_left2 >= (steps_to_take2) * (1/3) ){

		 // Decelerate for final third
		}else{
			current_arr2 += arr_step2;
			TIM7->ARR = current_arr2;
		}

		if(steps_left2 > 0){
		HAL_GPIO_TogglePin(STP2_GPIO_Port, STP2_Pin);
		steps_left2--;
		}
	}
}

//function to clear overrun flag
//added to account for the issue where we receive information before we clear the buffer
//has no affect on actual performance, only on buffer performance
void HAL_UART_ErrorCallback(UART_HandleTypeDef *huart)
{
    if (huart->Instance == UART5)
    {
        uint32_t err = HAL_UART_GetError(huart);

        if (err & HAL_UART_ERROR_ORE)
        {

            __HAL_UART_CLEAR_FLAG(huart, UART_CLEAR_OREF);
            __HAL_UART_SEND_REQ(huart, UART_RXDATA_FLUSH_REQUEST);
        }

        HAL_UART_Receive_IT(huart, rx_byte, 2);
    }
}

//Beam break interrupt code
void HAL_GPIO_EXTI_Callback(uint16_t GPIO_Pin)
{
  if (GPIO_Pin == BEAM_BREAK_Pin) { // GPIO_PIN_0 as beam button is external interrupt on PG0
  		if (game_ongoing) //if game to end
  		{
  			game_ongoing = 0; //game no longer active
  			board = END; //update board status, to be handled in main
  			HAL_NVIC_DisableIRQ(UART5_IRQn); //disable uart until game reset logic done in main
  	}

  }
}

/* USER CODE END 4 */

void Error_Handler(void)
{
  __disable_irq();
  while (1)
  {
  }
}
